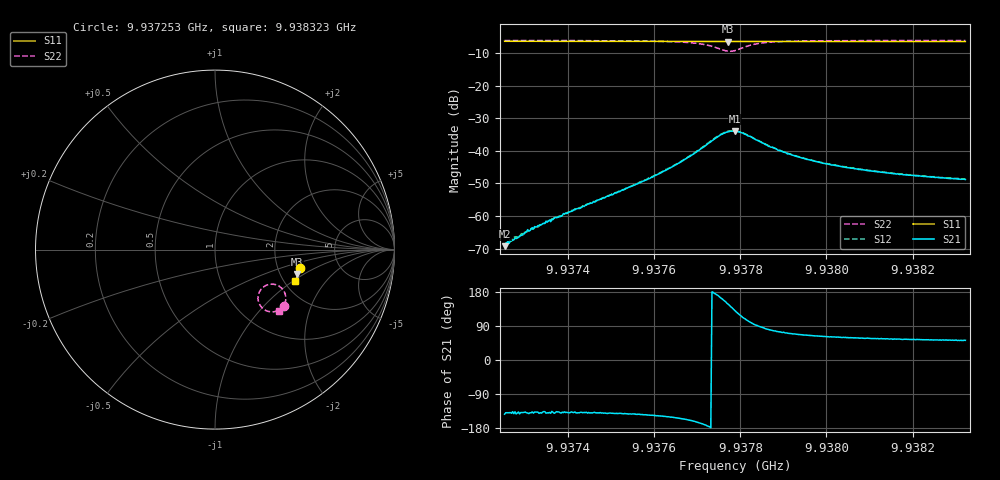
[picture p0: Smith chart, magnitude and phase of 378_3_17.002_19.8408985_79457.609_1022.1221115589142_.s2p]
#  HZ  S  RI  R  50.00
! Rohde & Schwarz Vector Network Analyzer
! Rohde-Schwarz,ZNB20-2Port,1311601062101988,3.16
! Created: UTC 3/20/2024, 11:09:02 PM
! freq[Hz]  re:S11  im:S11  re:S21  im:S21  re:S12  im:S12  re:S22  im:S22
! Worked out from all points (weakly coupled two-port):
!   401 points, 9.937253 GHz to 9.938323 GHz, reference 50 ohm
!   highest |S21| = -33.88 dB at 9.937788 GHz (marker M1); lowest = -69.3 dB at 9.937253 GHz (marker M2)
!   lowest |S11| = -6.4 dB at 9.937772 GHz (marker M3), VSWR 2.84, Z = 123 - j44.3 ohm
!   |S11| at or under -10 dB: nowhere
!   |S22| runs from -9.4 to -6.1 dB; largest |S21 - S12| = 0.00091
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9.9372526e9  0.4722 -0.1051  -0.000274 -0.000207  -0.000264 -0.00023  0.387 -0.3136
9.9372607e9  0.4721 -0.1057  -0.000306 -0.000267  -0.000298 -0.000242  0.3864 -0.3142
9.9372767e9  0.4717 -0.1067  -0.000332 -0.000313  -0.000381 -0.000288  0.3854 -0.3151
9.9372901e9  0.4714 -0.1077  -0.000379 -0.000333  -0.000371 -0.000367  0.3843 -0.316
9.9373195e9  0.4707 -0.1096  -0.000484 -0.000401  -0.000476 -0.000432  0.382 -0.3183
9.9373944e9  0.4692 -0.1148  -0.000831 -0.00073  -0.000844 -0.000708  0.3759 -0.324
9.9374319e9  0.4685 -0.1171  -0.00102 -0.000911  -0.00106 -0.000905  0.3717 -0.327
9.9375335e9  0.4663 -0.124  -0.00207 -0.00164  -0.00209 -0.00161  0.3581 -0.3361
9.9376111e9  0.4643 -0.1293  -0.00377 -0.0024  -0.00383 -0.00236  0.34 -0.3438
9.9376646e9  0.4628 -0.1328  -0.00631 -0.00293  -0.00643 -0.00289  0.3166 -0.347
9.9377154e9  0.4609 -0.1361  -0.0114 -0.00199  -0.0117 -0.00181  0.2746 -0.3345
9.9377502e9  0.4595 -0.1378  -0.0166 0.00346  -0.0168 0.00407  0.2411 -0.2849
9.9377716e9  0.4586 -0.1384  -0.0165 0.0106  -0.0167 0.0114  0.2508 -0.2296
9.9377876e9  0.4587 -0.1388  -0.013 0.0155  -0.0127 0.016  0.286 -0.1988
9.9378064e9  0.4589 -0.1395  -0.00692 0.0174  -0.00658 0.0177  0.3344 -0.1943
9.9378438e9  0.4589 -0.1423  0.000332 0.0141  0.000707 0.0143  0.3847 -0.2325
9.9378652e9  0.4588 -0.144  0.00191 0.0116  0.00226 0.0119  0.3926 -0.2529
9.9379e9  0.4581 -0.1465  0.00276 0.00921  0.00314 0.00916  0.3943 -0.2763
9.9379669e9  0.4564 -0.1509  0.00307 0.0064  0.00321 0.00642  0.3885 -0.3017
9.9380418e9  0.4546 -0.1561  0.00285 0.00485  0.00299 0.0049  0.381 -0.3164
9.9381461e9  0.4517 -0.1626  0.00261 0.00375  0.00269 0.00374  0.3718 -0.3294
9.9383227e9  0.4469 -0.1741  0.00224 0.00286  0.00232 0.00287  0.3588 -0.344
